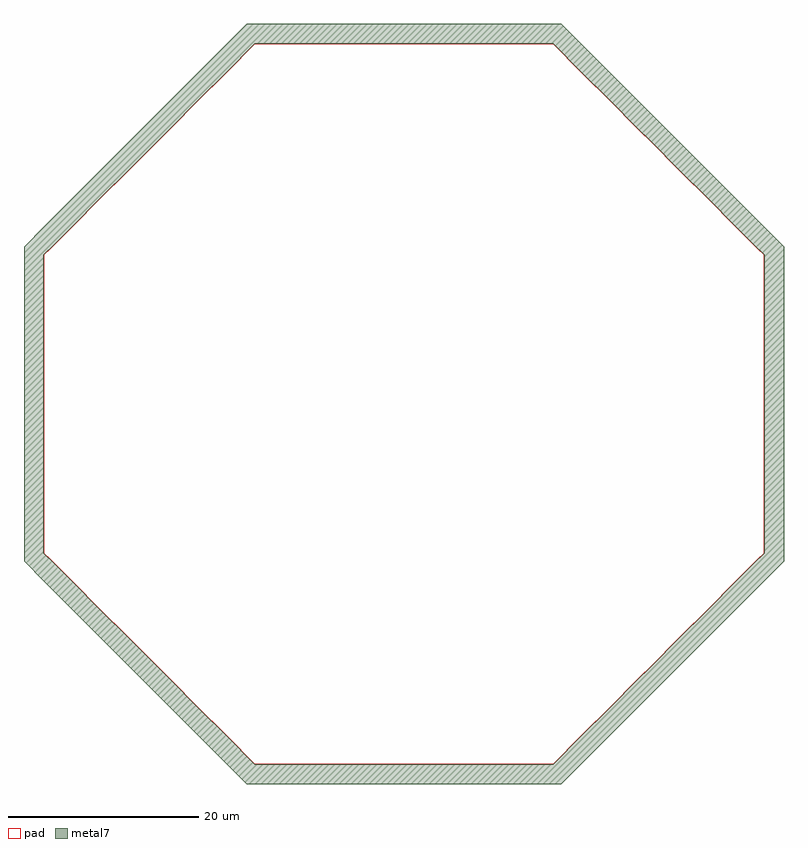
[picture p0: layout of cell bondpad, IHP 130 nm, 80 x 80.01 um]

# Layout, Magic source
magic
tech ihp-sg13g2
magscale 1 2
<< metal7 >>
tri -3735 7580 -3314 8001 se
rect -3314 7580 3314 8001
tri 3314 7580 3735 8001 sw
tri -4330 6985 -3735 7580 se
tri -3735 6985 -3140 7580 nw
tri 3140 6985 3735 7580 ne
tri 3735 6985 4330 7580 sw
tri -4925 6390 -4330 6985 se
tri -4330 6390 -3735 6985 nw
tri 3735 6390 4330 6985 ne
tri 4330 6390 4925 6985 sw
tri -5520 5795 -4925 6390 se
tri -4925 5795 -4330 6390 nw
tri 4330 5795 4925 6390 ne
tri 4925 5795 5520 6390 sw
tri -5795 5520 -5520 5795 se
rect -5520 5520 -5200 5795
tri -5200 5520 -4925 5795 nw
tri 4925 5520 5200 5795 ne
rect 5200 5520 5520 5795
tri 5520 5520 5795 5795 sw
tri -6390 4925 -5795 5520 se
tri -5795 4925 -5200 5520 nw
tri 5200 4925 5795 5520 ne
tri 5795 4925 6390 5520 sw
tri -6985 4330 -6390 4925 se
tri -6390 4330 -5795 4925 nw
tri 5795 4330 6390 4925 ne
tri 6390 4330 6985 4925 sw
tri -7580 3735 -6985 4330 se
tri -6985 3735 -6390 4330 nw
tri 6390 3735 6985 4330 ne
tri 6985 3735 7580 4330 sw
tri -8000 3315 -7580 3735 se
rect -7580 3315 -7405 3735
tri -7405 3315 -6985 3735 nw
tri 6985 3315 7405 3735 ne
rect 7405 3315 7580 3735
tri 7580 3315 8000 3735 sw
rect -8000 -3315 -7580 3315
tri -7580 3140 -7405 3315 nw
tri 7405 3140 7580 3315 ne
tri -7580 -3315 -7405 -3140 sw
tri 7405 -3315 7580 -3140 se
rect 7580 -3315 8000 3315
tri -8000 -3735 -7580 -3315 ne
rect -7580 -3735 -7405 -3315
tri -7405 -3735 -6985 -3315 sw
tri 6985 -3735 7405 -3315 se
rect 7405 -3735 7580 -3315
tri 7580 -3735 8000 -3315 nw
tri -7580 -4330 -6985 -3735 ne
tri -6985 -4330 -6390 -3735 sw
tri 6390 -4330 6985 -3735 se
tri 6985 -4330 7580 -3735 nw
tri -6985 -4925 -6390 -4330 ne
tri -6390 -4925 -5795 -4330 sw
tri 5795 -4925 6390 -4330 se
tri 6390 -4925 6985 -4330 nw
tri -6390 -5520 -5795 -4925 ne
tri -5795 -5520 -5200 -4925 sw
tri 5200 -5520 5795 -4925 se
tri 5795 -5520 6390 -4925 nw
tri -5795 -5795 -5520 -5520 ne
rect -5520 -5795 -5200 -5520
tri -5200 -5795 -4925 -5520 sw
tri 4925 -5795 5200 -5520 se
rect 5200 -5795 5520 -5520
tri 5520 -5795 5795 -5520 nw
tri -5520 -6390 -4925 -5795 ne
tri -4925 -6390 -4330 -5795 sw
tri 4330 -6390 4925 -5795 se
tri 4925 -6390 5520 -5795 nw
tri -4925 -6985 -4330 -6390 ne
tri -4330 -6985 -3735 -6390 sw
tri 3735 -6985 4330 -6390 se
tri 4330 -6985 4925 -6390 nw
tri -4330 -7580 -3735 -6985 ne
tri -3735 -7580 -3140 -6985 sw
tri 3140 -7580 3735 -6985 se
tri 3735 -7580 4330 -6985 nw
tri -3735 -8001 -3314 -7580 ne
rect -3314 -8001 3314 -7580
tri 3314 -8001 3735 -7580 nw
<< pad >>
tri -3735 6985 -3140 7580 se
rect -3140 6985 3140 7580
tri 3140 6985 3735 7580 sw
tri -4330 6390 -3735 6985 se
rect -3735 6390 3735 6985
tri 3735 6390 4330 6985 sw
tri -4925 5795 -4330 6390 se
rect -4330 5795 4330 6390
tri 4330 5795 4925 6390 sw
tri -5200 5520 -4925 5795 se
rect -4925 5520 4925 5795
tri 4925 5520 5200 5795 sw
tri -5795 4925 -5200 5520 se
rect -5200 4925 5200 5520
tri 5200 4925 5795 5520 sw
tri -6390 4330 -5795 4925 se
rect -5795 4330 5795 4925
tri 5795 4330 6390 4925 sw
tri -6985 3735 -6390 4330 se
rect -6390 3735 6390 4330
tri 6390 3735 6985 4330 sw
tri -7405 3315 -6985 3735 se
rect -6985 3315 6985 3735
tri 6985 3315 7405 3735 sw
tri -7580 3140 -7405 3315 se
rect -7405 3140 7405 3315
tri 7405 3140 7580 3315 sw
rect -7580 -3140 7580 3140
tri -7580 -3315 -7405 -3140 ne
rect -7405 -3315 7405 -3140
tri 7405 -3315 7580 -3140 nw
tri -7405 -3735 -6985 -3315 ne
rect -6985 -3735 6985 -3315
tri 6985 -3735 7405 -3315 nw
tri -6985 -4330 -6390 -3735 ne
rect -6390 -4330 6390 -3735
tri 6390 -4330 6985 -3735 nw
tri -6390 -4925 -5795 -4330 ne
rect -5795 -4925 5795 -4330
tri 5795 -4925 6390 -4330 nw
tri -5795 -5520 -5200 -4925 ne
rect -5200 -5520 5200 -4925
tri 5200 -5520 5795 -4925 nw
tri -5200 -5795 -4925 -5520 ne
rect -4925 -5795 4925 -5520
tri 4925 -5795 5200 -5520 nw
tri -4925 -6390 -4330 -5795 ne
rect -4330 -6390 4330 -5795
tri 4330 -6390 4925 -5795 nw
tri -4330 -6985 -3735 -6390 ne
rect -3735 -6985 3735 -6390
tri 3735 -6985 4330 -6390 nw
tri -3735 -7580 -3140 -6985 ne
rect -3140 -7580 3140 -6985
tri 3140 -7580 3735 -6985 nw
<< end >>
